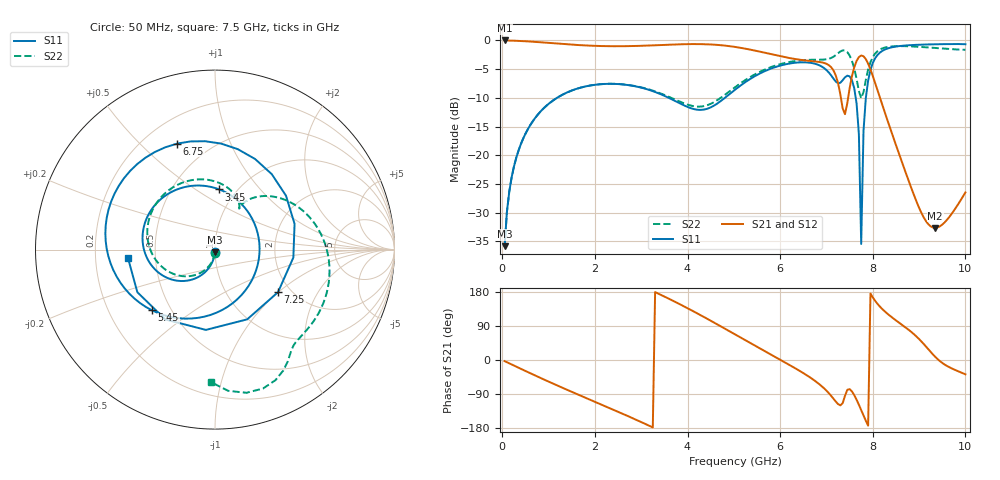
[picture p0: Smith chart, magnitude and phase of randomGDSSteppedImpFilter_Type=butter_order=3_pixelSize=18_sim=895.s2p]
! freq	dB(S11)	phase(S11)	dB(S12)	phase(S12)
!  dB(S21)	phase(S21)	dB(S22)	phase(S22)
!S-par simulation data
#  GHz  S  DB  R 50
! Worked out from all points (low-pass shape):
!   200 points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, 50 MHz to 10 GHz, reference 50 ohm
!   highest |S21| = -0.01 dB at 50 MHz (marker M1); lowest = -32.6 dB at 9.35 GHz (marker M2)
!   |S21| within 3 dB of the highest: start of sweep to 6.16 GHz; 7.692 GHz to 7.825 GHz (132.7 MHz wide, 1.71 % of centre)
!   lowest |S11| = -35.8 dB at 50 MHz (marker M3), VSWR 1.03, Z = 49.9 - j1.61 ohm
!   |S11| at or under -10 dB: start of sweep to 1.18 GHz; 3.594 GHz to 4.806 GHz (1.212 GHz wide, 28.9 % of centre); 7.632 GHz to 7.85 GHz (218.3 MHz wide, 2.82 % of centre)
!   |S22| runs from -35.7 to -1.0 dB; largest |S21 - S12| = 0
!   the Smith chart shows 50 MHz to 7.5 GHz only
!   S11 on the Smith chart (normalised r, x): 50 MHz: 1.00, -0.03; 3.45 GHz: 0.83, +0.63; 5.45 GHz: 0.39, -0.35; 6.75 GHz: 0.33, +0.65; 7.25 GHz: 1.72, -0.99; 7.5 GHz: 0.35, -0.04
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0.05  -35.82 -92.4  -0.01 -3.0  -0.01 -3.0  -35.73 -92.3
0.5  -16.25 -116.8  -0.14 -29.0  -0.14 -29.0  -16.26 -122.2
1.75  -8.10 -178.8  -0.85 -97.2  -0.85 -97.2  -8.10 163.3
3.4  -9.30 89.8  -0.81 173.4  -0.81 173.4  -9.17 77.1
3.45  -9.47 86.0  -0.79 170.4  -0.79 170.4  -9.33 75.1
4.35  -12.05 -12.4  -0.66 113.8  -0.66 113.8  -11.44 59.6
5.05  -8.43 -99.2  -1.16 65.8  -1.16 65.8  -8.01 48.5
5.45  -6.24 -136.0  -1.76 38.1  -1.76 38.1  -5.93 30.3
6.15  -4.10 167.6  -2.99 -9.6  -2.99 -9.6  -3.84 -7.8
6.7  -3.96 115.9  -3.62 -50.4  -3.62 -50.4  -3.36 -36.6
6.75  -4.06 109.6  -3.66 -54.8  -3.66 -54.8  -3.36 -39.0
7  -5.16 66.1  -4.07 -80.9  -4.07 -80.9  -3.28 -49.2
7.25  -7.46 -34.0  -7.42 -116.3  -7.42 -116.3  -2.23 -60.5
7.35  -6.93 -96.5  -11.82 -113.9  -11.82 -113.9  -1.74 -70.9
7.5  -6.26 -174.2  -8.34 -76.8  -8.34 -76.8  -2.62 -91.6
7.7  -16.30 111.9  -2.90 -118.1  -2.90 -118.1  -8.80 -98.4
7.75  -35.45 179.4  -2.63 -132.2  -2.63 -132.2  -10.07 -81.6
7.8  -15.76 -113.3  -2.76 -146.6  -2.76 -146.6  -8.99 -64.0
7.9  -6.99 -141.2  -4.05 -173.2  -4.05 -173.2  -5.07 -58.3
8.35  -1.33 144.3  -14.69 118.7  -14.69 118.7  -1.10 -101.3
9.35  -0.67 76.8  -32.64 8.2  -32.64 8.2  -1.32 -179.2
10  -0.66 44.0  -26.47 -37.8  -26.47 -37.8  -1.63 114.5
